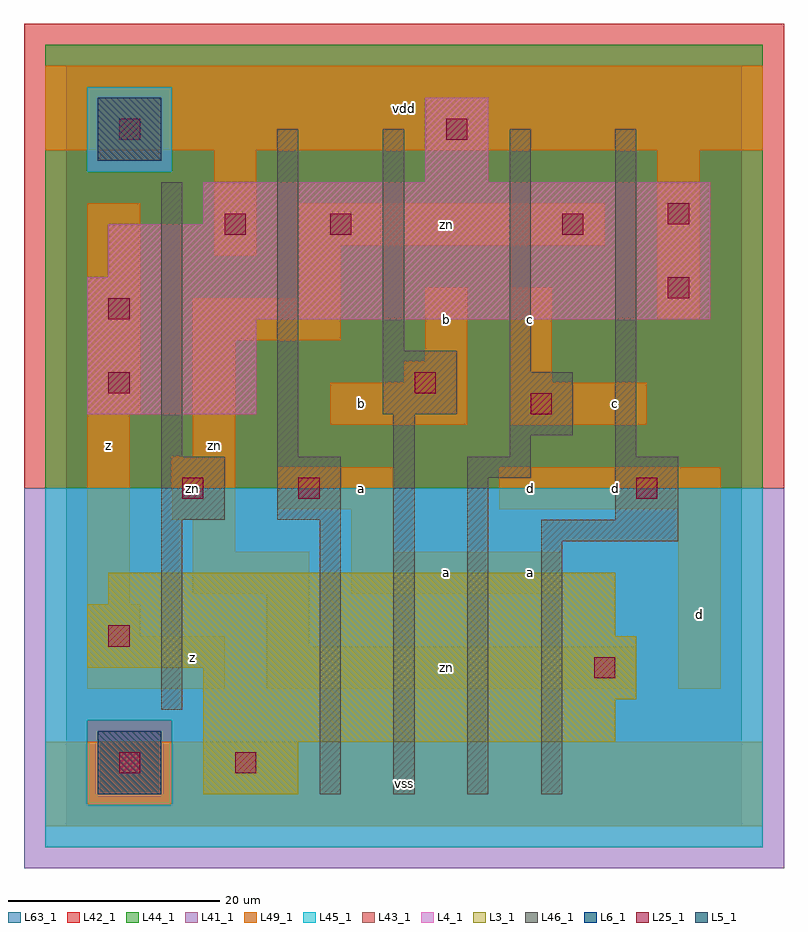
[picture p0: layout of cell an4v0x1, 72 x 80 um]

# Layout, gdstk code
import gdstk
lib = gdstk.Library(unit=1e-6, precision=1e-09)
def R(c, l, rs):  # rectangles x0, y0, x1, y1
    for r in rs: c.add(gdstk.rectangle(r[:2], r[2:], *l))
L3_1 = (3, 1)
L4_1 = (4, 1)
L5_1 = (5, 1)
L6_1 = (6, 1)
L25_1 = (25, 1)
L41_1 = (41, 1)
L42_1 = (42, 1)
L43_1 = (43, 1)
L44_1 = (44, 1)
L45_1 = (45, 1)
L46_1 = (46, 1)
L49_1 = (49, 1)
L63_1 = (63, 1)

an4v0x1 = lib.new_cell('an4v0x1')
R(an4v0x1, L3_1, [(13,3,22,8), (13,8,52,12), (13,12,54,15), (2,15,54,18), (2,18,52,21), (4,21,52,24)])
R(an4v0x1, L4_1, [(2,39,18,48), (2,48,61,52), (4,52,61,57), (13,57,61,61), (34,61,40,69)])
R(an4v0x1, L5_1, [(3,63,9,69)])
R(an4v0x1, L6_1, [(3,3,9,9), (3,3,9,9)])
R(an4v0x1, L25_1, [(5,5,7,7), (16,5,18,7), (50,14,52,16), (4,17,6,19), (11,31,13,33), (22,31,24,33), (54,31,56,33), (44,39,46,41), (4,41,6,43), (33,41,35,43), (4,48,6,50), (57,50,59,52), (15,56,17,58), (25,56,27,58), (47,56,49,58), (57,57,59,59), (5,65,7,67), (36,65,38,67)])
R(an4v0x1, L41_1, [(-4,-4,68,32)])
R(an4v0x1, L42_1, [(-4,32,68,76)])
R(an4v0x1, L43_1, [(3,3,9,9), (13,3,22,8), (13,8,52,12), (13,12,54,15), (2,15,54,18), (2,18,52,21), (4,21,52,24), (2,39,18,48), (2,48,61,52), (4,52,61,57), (13,57,61,61), (34,61,40,69), (3,63,9,69)])
R(an4v0x1, L44_1, [(2,2,10,10), (-2,32,66,62), (-2,62,2,70), (10,62,66,70), (-2,70,66,74)])
R(an4v0x1, L45_1, [(-2,-2,66,2), (-2,2,2,10), (10,2,66,10), (-2,10,66,32), (2,62,10,70)])
R(an4v0x1, L46_1, [(24,3,26,29), (31,3,33,39), (38,3,40,33), (45,3,47,27), (9,11,11,29), (45,27,58,29), (9,29,15,35), (20,29,26,35), (52,29,58,35), (38,33,44,35), (9,35,11,61), (20,35,22,66), (42,35,44,37), (52,35,54,66), (42,37,48,43), (30,39,37,45), (42,43,44,66), (30,45,32,66)])
R(an4v0x1, L49_1, [(-2,0,66,8), (2,13,15,18), (19,13,54,17), (58,13,62,30), (19,17,23,22), (2,18,7,21), (2,21,6,39), (12,22,23,26), (27,22,47,26), (12,26,16,29), (27,26,31,30), (10,29,16,35), (20,30,31,34), (41,30,62,34), (12,35,16,46), (25,38,38,42), (42,38,55,42), (2,39,7,59), (32,42,38,44), (42,42,46,51), (34,44,38,51), (12,46,26,50), (56,48,60,64), (22,50,26,55), (14,54,18,64), (22,55,51,59), (-2,64,66,72)])
R(an4v0x1, L63_1, [(0,0,64,72)])
an4v0x1.add(gdstk.Label('zn', (12,32), layer=49, texttype=1))
an4v0x1.add(gdstk.Label('z', (12,16), layer=49, texttype=1))
an4v0x1.add(gdstk.Label('z', (4,36), layer=49, texttype=1))
an4v0x1.add(gdstk.Label('a', (28,32), layer=49, texttype=1))
an4v0x1.add(gdstk.Label('b', (28,40), layer=49, texttype=1))
an4v0x1.add(gdstk.Label('zn', (14,36), layer=49, texttype=1))
an4v0x1.add(gdstk.Label('vss', (32,4), layer=49, texttype=1))
an4v0x1.add(gdstk.Label('a', (36,24), layer=49, texttype=1))
an4v0x1.add(gdstk.Label('a', (44,24), layer=49, texttype=1))
an4v0x1.add(gdstk.Label('d', (44,32), layer=49, texttype=1))
an4v0x1.add(gdstk.Label('b', (36,48), layer=49, texttype=1))
an4v0x1.add(gdstk.Label('c', (44,48), layer=49, texttype=1))
an4v0x1.add(gdstk.Label('vdd', (32,68), layer=49, texttype=1))
an4v0x1.add(gdstk.Label('zn', (36,15), layer=49, texttype=1))
an4v0x1.add(gdstk.Label('d', (60,20), layer=49, texttype=1))
an4v0x1.add(gdstk.Label('d', (52,32), layer=49, texttype=1))
an4v0x1.add(gdstk.Label('c', (52,40), layer=49, texttype=1))
an4v0x1.add(gdstk.Label('zn', (36,57), layer=49, texttype=1))

lib.write_gds('an4v0x1.gds')
